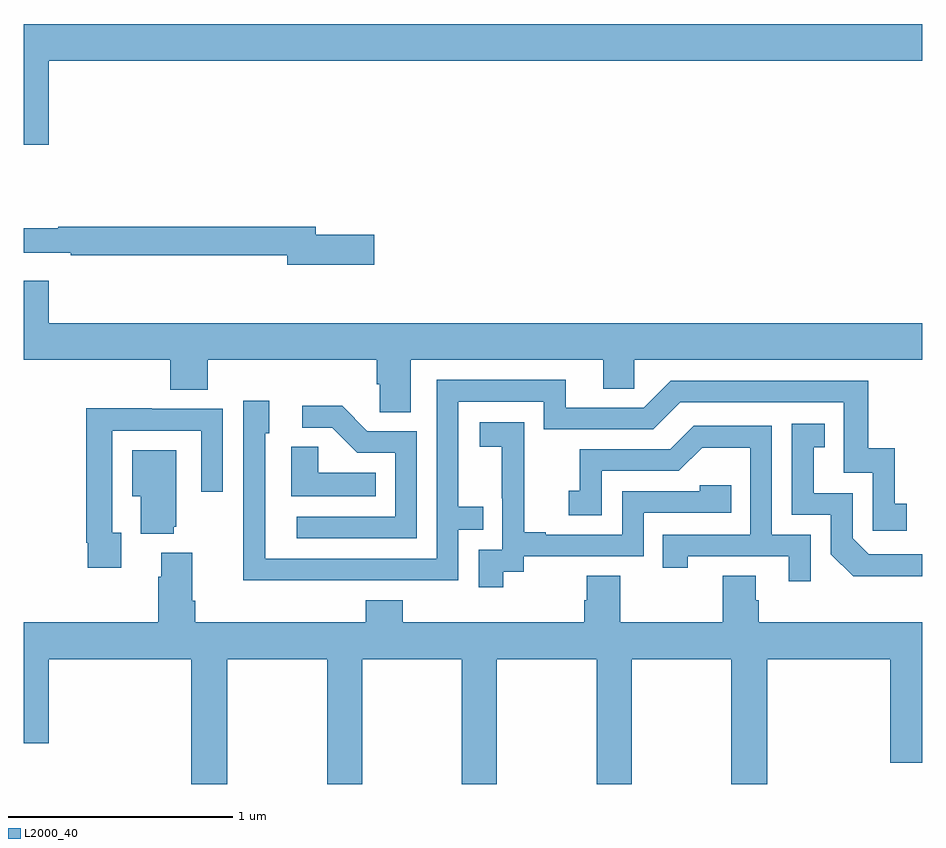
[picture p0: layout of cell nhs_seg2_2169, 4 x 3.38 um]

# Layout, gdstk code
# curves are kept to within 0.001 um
import gdstk
lib = gdstk.Library(unit=1e-6, precision=1e-09)
def P(c, l, *ps):  # polygons
    for p in ps: c.add(gdstk.Polygon(p, *l))
L2000_40 = (2000, 40)

nhs_seg2_2169 = lib.new_cell('nhs_seg2_2169')
P(nhs_seg2_2169, L2000_40, [(225.112,597.02),(229,597.02),(229,597.184),(225,597.184),(225,596.646),(225.112,596.646)],
  [(226.561,596.246),(226.3,596.246),(226.3,596.282),(225.154,596.282),(225.154,596.275),(225,596.275),(225,596.166),(225.208,596.166),(225.208,596.154),(226.172,596.154),(226.172,596.111),(226.561,596.111)],
  [(226.723,595.688),(227.579,595.688),(227.579,595.561),(227.718,595.561),(227.718,595.688),(229,595.688),(229,595.852),(225.112,595.852),(225.112,596.041),(225,596.041),(225,595.688),(225.653,595.688),(225.653,595.555),(225.818,595.555),(225.818,595.688),(226.571,595.688),(226.571,595.579),(226.584,595.579),(226.584,595.456),(226.723,595.456)],
  [(226.439,594.708),(226.935,594.708),(226.935,594.933),(227.045,594.933),(227.045,595.034),(226.935,595.034),(226.935,595.503),(227.316,595.503),(227.316,595.38),(227.802,595.38),(227.922,595.5),(228.651,595.5),(228.651,595.185),(228.78,595.185),(228.78,594.927),(228.931,594.927),(228.931,595.047),(228.878,595.047),(228.878,595.294),(228.76,595.294),(228.76,595.596),(227.88,595.596),(227.76,595.476),(227.413,595.476),(227.413,595.599),(226.839,595.599),(226.839,594.804),(226.074,594.804),(226.074,595.362),(226.093,595.362),(226.093,595.507),(225.978,595.507),(225.978,595.013),(225.976,595.013),(225.976,594.707)],
  [(226.749,595.371),(226.53,595.371),(226.417,595.484),(226.239,595.484),(226.239,595.386),(226.373,595.386),(226.484,595.275),(226.653,595.275),(226.653,594.99),(226.215,594.99),(226.215,594.894),(226.749,594.894)],
  [(225.433,594.918),(225.393,594.918),(225.393,595.374),(225.789,595.374),(225.789,595.101),(225.885,595.101),(225.885,595.47),(225.569,595.47),(225.569,595.472),(225.277,595.472),(225.277,594.874),(225.285,594.874),(225.285,594.762),(225.433,594.762)],
  [(227.134,594.745),(227.226,594.745),(227.226,594.813),(227.76,594.813),(227.76,595.008),(228.149,595.008),(228.149,595.131),(228.009,595.131),(228.009,595.104),(227.664,595.104),(227.664,594.909),(227.323,594.909),(227.323,594.922),(227.228,594.922),(227.228,595.205),(227.229,595.205),(227.229,595.411),(227.031,595.411),(227.031,595.301),(227.129,595.301),(227.129,595.073),(227.13,595.073),(227.13,594.843),(227.025,594.843),(227.025,594.675),(227.134,594.675)],
  [(229,594.822),(228.762,594.822),(228.69,594.894),(228.69,595.095),(228.517,595.095),(228.517,595.299),(228.566,595.299),(228.566,595.405),(228.42,595.405),(228.42,594.999),(228.594,594.999),(228.594,594.822),(228.692,594.725),(229,594.725)],
  [(228.504,594.909),(228.33,594.909),(228.33,595.395),(227.984,595.395),(227.879,595.29),(227.476,595.29),(227.476,595.105),(227.427,595.105),(227.427,594.996),(227.574,594.996),(227.574,595.194),(227.916,595.194),(228.02,595.298),(228.234,595.298),(228.234,594.909),(227.845,594.909),(227.845,594.762),(227.956,594.762),(227.956,594.813),(228.407,594.813),(228.407,594.702),(228.504,594.702)],
  [(226.568,595.186),(226.311,595.186),(226.311,595.301),(226.19,595.301),(226.19,595.082),(226.568,595.082)],
  [(225.668,594.945),(225.679,594.945),(225.679,595.285),(225.482,595.285),(225.482,595.082),(225.521,595.082),(225.521,594.914),(225.668,594.914)],
  [(225.611,594.722),(225.599,594.722),(225.599,594.52),(225,594.52),(225,593.982),(225.112,593.982),(225.112,594.356),(225.746,594.356),(225.746,593.8),(225.906,593.8),(225.906,594.356),(226.351,594.356),(226.351,593.8),(226.506,593.8),(226.506,594.356),(226.951,594.356),(226.951,593.8),(227.106,593.8),(227.106,594.356),(227.551,594.356),(227.551,593.8),(227.706,593.8),(227.706,594.356),(228.151,594.356),(228.151,593.8),(228.311,593.8),(228.311,594.356),(228.857,594.356),(228.857,593.895),(229,593.895),(229,594.52),(228.272,594.52),(228.272,594.618),(228.259,594.618),(228.259,594.728),(228.112,594.728),(228.112,594.52),(227.655,594.52),(227.655,594.728),(227.507,594.728),(227.507,594.618),(227.495,594.618),(227.495,594.52),(226.688,594.52),(226.688,594.619),(226.523,594.619),(226.523,594.52),(225.764,594.52),(225.764,594.616),(225.751,594.616),(225.751,594.829),(225.611,594.829)])

lib.write_gds('nhs_seg2_2169.gds')
